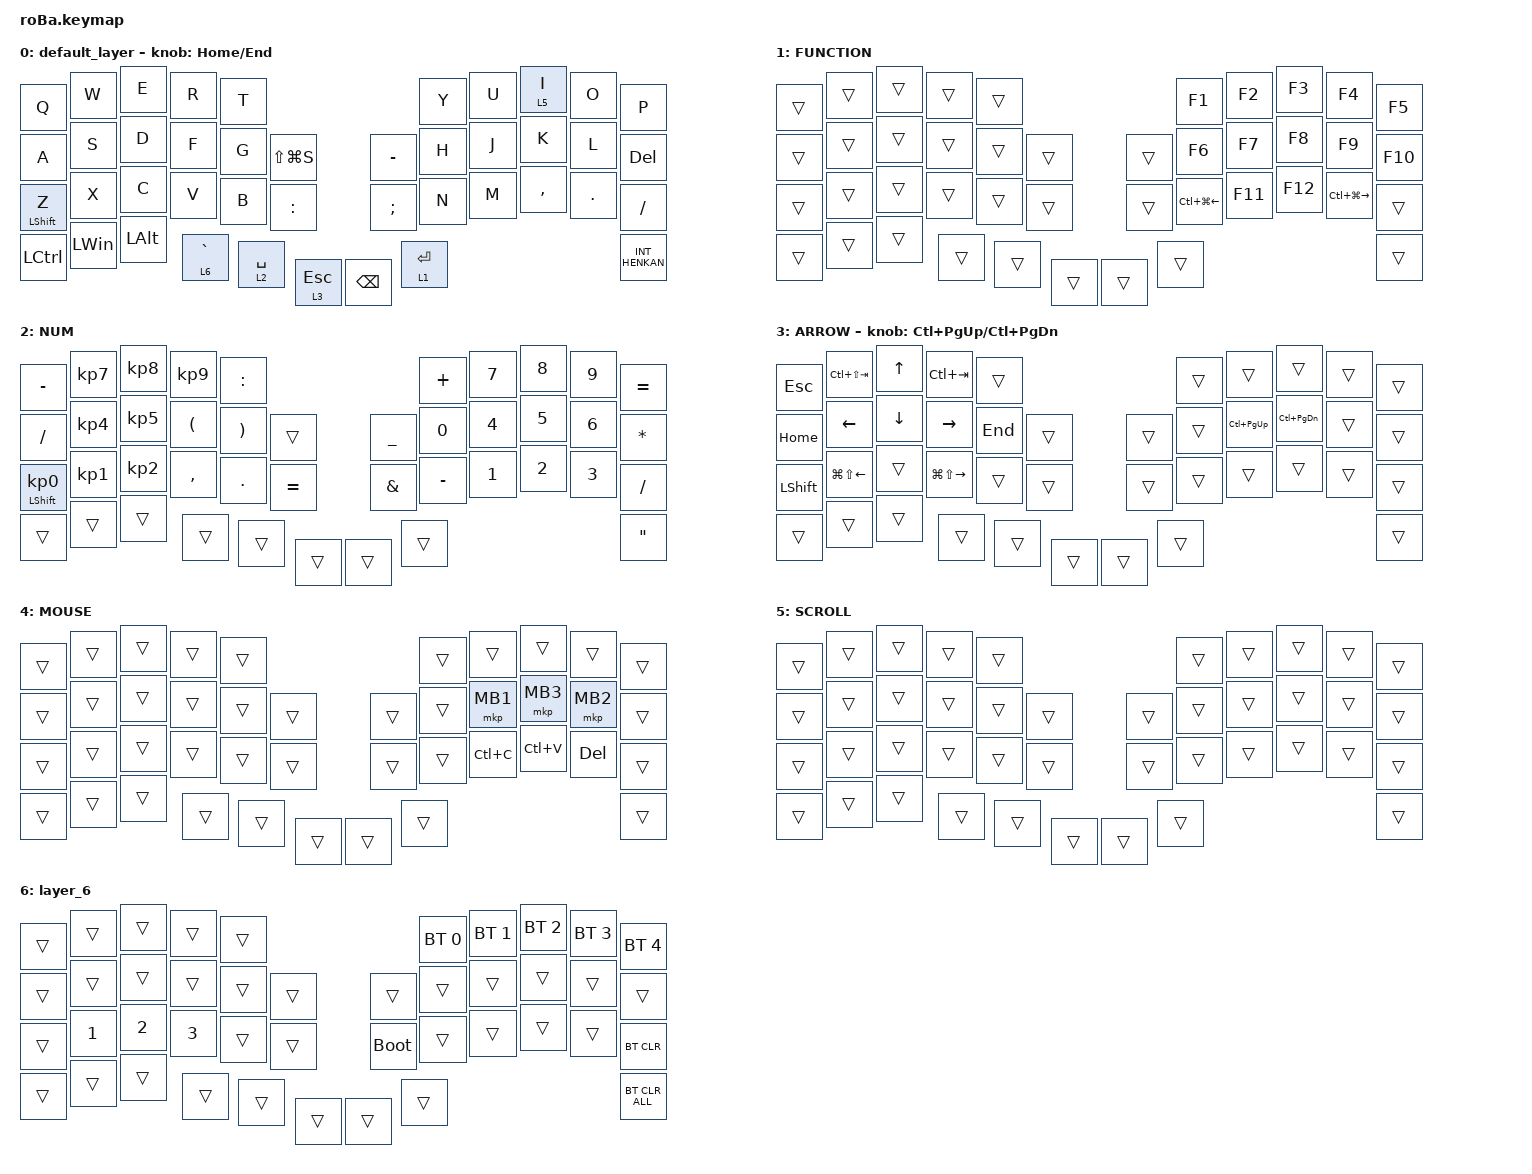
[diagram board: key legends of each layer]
#include <behaviors.dtsi>
#include <dt-bindings/zmk/bt.h>
#include <dt-bindings/zmk/keys.h>
#include <dt-bindings/zmk/pointing.h>

&mt {
    flavor = "balanced";
    quick-tap-ms = <0>;
};

&trackball {
    automouse-layer = <4>;
    scroll-layers = <5>;

    arrows {
        layers = <3>;
        bindings =
            <&kp RIGHT_ARROW>,
            <&kp LEFT_ARROW>,
            <&kp UP_ARROW>,
            <&kp DOWN_ARROW>;

        tick = <10>;
        wait-ms = <5>;
        tap-ms = <5>;
    };
};

/ {
    combos {
        compatible = "zmk,combos";

        tab {
            bindings = <&kp TAB>;
            key-positions = <11 12>;
        };

        shift_tab {
            bindings = <&kp LS(TAB)>;
            key-positions = <12 13>;
        };

        kakko {
            bindings = <&macro_jp_square>;
            key-positions = <18 19>;
            layers = <0>;
        };

        jp_round {
            bindings = <&macro_jp_round>;
            key-positions = <19 20>;
        };

        Kakko02 {
            bindings = <&Kakko02>;
            key-positions = <6 7>;
        };

        Kakko03 {
            bindings = <&Kakko03>;
            key-positions = <7 8>;
        };

        Kakko04 {
            bindings = <&Kakko04>;
            key-positions = <30 31>;
        };
    };

    macros {
        macro_jp_square: to_layer_0 {
            compatible = "zmk,behavior-macro";
            #binding-cells = <0>;
            bindings = <&kp LBKT &kp RBKT &kp LEFT>;
            label = "TO_LAYER_0";
        };

        macro_jp_round: new_macro {
            compatible = "zmk,behavior-macro";
            #binding-cells = <0>;
            bindings = <&kp LPAR &kp RPAR &kp LEFT>;
            label = "NEW_MACRO";
        };

        Kakko: Kakko {
            compatible = "zmk,behavior-macro";
            #binding-cells = <0>;
            bindings = <&none>;
            label = "KAKKO";
        };

        Kakko02: Kakko02 {
            compatible = "zmk,behavior-macro";
            #binding-cells = <0>;
            bindings = <&kp LBRC &kp RBRC &kp LEFT>;
            label = "KAKKO";
        };

        Kakko03: Kakko03 {
            compatible = "zmk,behavior-macro";
            #binding-cells = <0>;
            bindings = <&kp LT &kp GT &kp LEFT>;
            label = "KAKKO03";
        };

        Kakko04: Kakko04 {
            compatible = "zmk,behavior-macro";
            #binding-cells = <0>;
            bindings = <&kp DQT &kp DQT &kp LEFT>;
            label = "KAKKO04";
        };
    };

    behaviors {
        lt_to_layer_0: lt_to_layer_0 {
            compatible = "zmk,behavior-hold-tap";
            label = "LAYER_TAP_TO_0";
            bindings = <&mo>, <&macro_jp_square>;

            #binding-cells = <2>;
            tapping-term-ms = <200>;
        };
    };

    keymap {
        compatible = "zmk,keymap";

        default_layer {
            bindings = <
&kp Q             &kp W         &kp E         &kp R        &kp T                                          &kp Y        &kp U  &lt 5 I    &kp O    &kp P
&kp A             &kp S         &kp D         &kp F        &kp G        &kp LS(LG(S))      &kp MINUS      &kp H        &kp J  &kp K      &kp L    &kp DEL
&mt LEFT_SHIFT Z  &kp X         &kp C         &kp V        &kp B        &kp COLON          &kp SEMICOLON  &kp N        &kp M  &kp COMMA  &kp DOT  &kp SLASH
&kp LCTRL         &kp LEFT_WIN  &kp LEFT_ALT  &lt 6 GRAVE  &lt 2 SPACE  &lt 3 ESC          &kp BACKSPACE  &lt 1 ENTER                             &kp INT_HENKAN
            >;

            sensor-bindings = <&inc_dec_kp HOME END>;
        };

        FUNCTION {
            bindings = <
&trans  &trans  &trans  &trans  &trans                      &kp F1                  &kp F2   &kp F3   &kp F4             &kp F5
&trans  &trans  &trans  &trans  &trans  &trans      &trans  &kp F6                  &kp F7   &kp F8   &kp F9             &kp F10
&trans  &trans  &trans  &trans  &trans  &trans      &trans  &kp LC(LG(LEFT_ARROW))  &kp F11  &kp F12  &kp LC(LG(RIGHT))  &trans
&trans  &trans  &trans  &trans  &trans  &trans      &trans  &trans                                                       &trans
            >;
        };

        NUM {
            bindings = <
&kp MINUS                   &kp KP_NUMBER_7  &kp KP_NUMBER_8  &kp KP_NUMBER_9       &kp COLON                                             &kp PLUS   &kp N7        &kp NUMBER_8  &kp N9        &kp EQUAL
&kp SLASH                   &kp KP_NUMBER_4  &kp KP_NUMBER_5  &kp LEFT_PARENTHESIS  &kp RIGHT_PARENTHESIS  &trans         &kp UNDERSCORE  &kp N0     &kp NUMBER_4  &kp N5        &kp NUMBER_6  &kp ASTERISK
&mt LEFT_SHIFT KP_NUMBER_0  &kp KP_NUMBER_1  &kp KP_NUMBER_2  &kp COMMA             &kp PERIOD             &kp EQUAL      &kp AMPERSAND   &kp MINUS  &kp NUMBER_1  &kp NUMBER_2  &kp NUMBER_3  &kp SLASH
&trans                      &trans           &trans           &trans                &trans                 &trans         &trans          &trans                                               &kp DOUBLE_QUOTES
            >;
        };

        ARROW {
            bindings = <
&kp ESCAPE      &kp LC(LS(TAB))         &kp UP_ARROW    &kp LC(TAB)              &trans                       &trans  &trans           &trans             &trans  &trans
&kp HOME        &kp LEFT_ARROW          &kp DOWN_ARROW  &kp RIGHT_ARROW          &kp END  &trans      &trans  &trans  &kp LC(PAGE_UP)  &kp LC(PAGE_DOWN)  &trans  &trans
&kp LEFT_SHIFT  &kp LG(LS(LEFT_ARROW))  &trans          &kp LG(LS(RIGHT_ARROW))  &trans   &trans      &trans  &trans  &trans           &trans             &trans  &trans
&trans          &trans                  &trans          &trans                   &trans   &trans      &trans  &trans                                              &trans
            >;

            sensor-bindings = <&inc_dec_kp LC(PAGE_UP) LC(PAGE_DOWN)>;
        };

        MOUSE {
            bindings = <
&trans  &trans  &trans  &trans  &trans                      &trans  &trans     &trans     &trans    &trans
&trans  &trans  &trans  &trans  &trans  &trans      &trans  &trans  &mkp MB1   &mkp MB3   &mkp MB2  &trans
&trans  &trans  &trans  &trans  &trans  &trans      &trans  &trans  &kp LC(C)  &kp LC(V)  &kp DEL   &trans
&trans  &trans  &trans  &trans  &trans  &trans      &trans  &trans                                  &trans
            >;
        };

        SCROLL {
            bindings = <
&trans  &trans  &trans  &trans  &trans                      &trans  &trans  &trans  &trans  &trans
&trans  &trans  &trans  &trans  &trans  &trans      &trans  &trans  &trans  &trans  &trans  &trans
&trans  &trans  &trans  &trans  &trans  &trans      &trans  &trans  &trans  &trans  &trans  &trans
&trans  &trans  &trans  &trans  &trans  &trans      &trans  &trans                          &trans
            >;
        };

        layer_6 {
            bindings = <
&trans  &trans        &trans        &trans        &trans                           &bt BT_SEL 0  &bt BT_SEL 1  &bt BT_SEL 2  &bt BT_SEL 3  &bt BT_SEL 4
&trans  &trans        &trans        &trans        &trans  &trans      &trans       &trans        &trans        &trans        &trans        &trans
&trans  &kp NUMBER_1  &kp NUMBER_2  &kp NUMBER_3  &trans  &trans      &bootloader  &trans        &trans        &trans        &trans        &bt BT_CLR
&trans  &trans        &trans        &trans        &trans  &trans      &trans       &trans                                                  &bt BT_CLR_ALL
            >;
        };
    };
};
